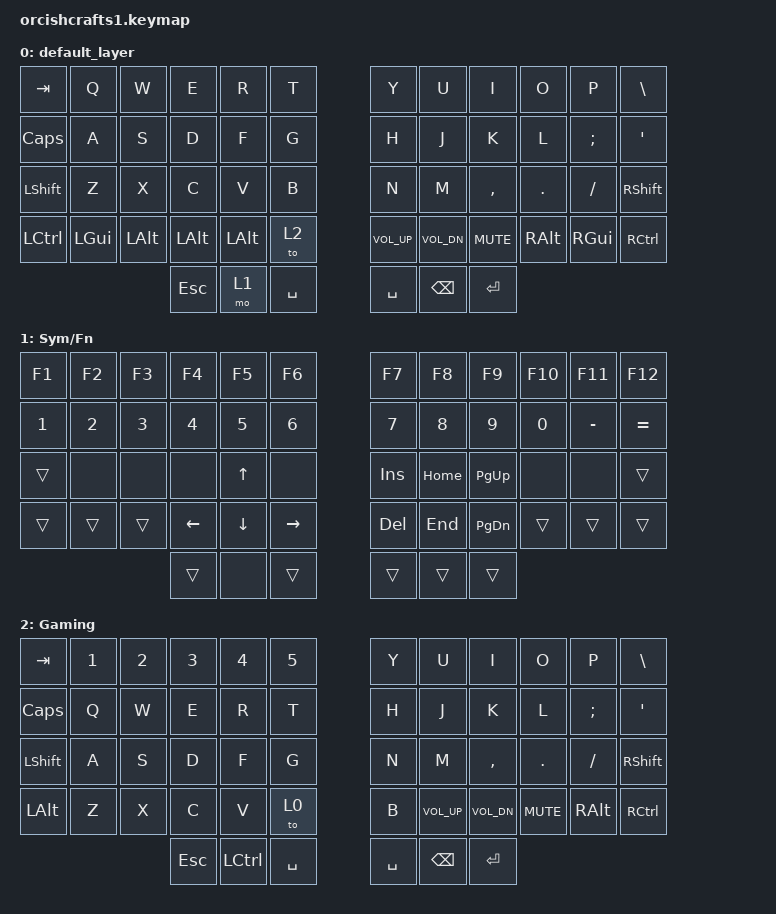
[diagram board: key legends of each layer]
#include <behaviors.dtsi>
#include <dt-bindings/zmk/keys.h>

/ {
    keymap {
        compatible = "zmk,keymap";

        /* === LAYER 0: Alpha Grid (No Number Row) === */
        default_layer {
            bindings = <
                /* === ROW 1: TOP ROW (12 Keys) === */
                &kp TAB   &kp Q     &kp W     &kp E     &kp R     &kp T         &kp Y     &kp U     &kp I     &kp O     &kp P     &kp BSLH
                /* === ROW 2: HOME ROW ROW (12 Keys) === */
                &kp CAPS  &kp A     &kp S     &kp D     &kp F     &kp G         &kp H     &kp J     &kp K     &kp L     &kp SEMI  &kp SQT
                /* === ROW 3: BOTTOM ROW (12 Keys) === */
                &kp LSHFT &kp Z     &kp X     &kp C     &kp V     &kp B         &kp N     &kp M     &kp COMMA &kp DOT   &kp FSLH  &kp RSHFT
                /* === ROW 4: BOTTOM MODIFIERS ROW (12 Keys) === */
                &kp LCTRL &kp LGUI  &kp LALT  &kp LALT  &kp LALT  &to 2          &kp C_VOL_UP &kp C_VOL_DN &kp C_MUTE &kp RALT  &kp RGUI  &kp RCTRL
                /* === ROW 5: THUMB CLUSTERS (6 Keys Total — 3 Left Thumbs | 3 Right Thumbs) === */
                                              &kp ESC   &mo 1     &kp SPACE     &kp SPACE &kp BSPC  &kp RET
            >;
        };

        /* === LAYER 1: Fn Track on Row 1, Numbers on Row 2 === */
        lower_layer {
            display-name = "Sym/Fn";
            bindings = <
                /* === ROW 1: FUNCTION TRACK (12 Keys) === */
                &kp F1    &kp F2    &kp F3    &kp F4    &kp F5    &kp F6        &kp F7    &kp F8    &kp F9    &kp F10   &kp F11   &kp F12
                /* === ROW 2: NUMBER TRACK (12 Keys) === */
                &kp N1    &kp N2    &kp N3    &kp N4    &kp N5    &kp N6        &kp N7    &kp N8    &kp N9    &kp N0    &kp MINUS &kp EQUAL
                /* === ROW 3: EXTRA NAVIGATORS ROW (12 Keys — FIXED PREFIXES) === */
                &trans    &none     &none     &none     &kp UP    &none         &kp INS   &kp HOME  &kp PG_UP &none     &none     &trans
                /* === ROW 4: ARROW NAVIGATION ROW (12 Keys — RE-ALIGNED NAVIGATION CLUSTER) === */
                &trans    &trans    &trans    &kp LEFT  &kp DOWN  &kp RIGHT     &kp DEL   &kp END   &kp PG_DN &trans    &trans    &trans
                /* === ROW 5: THUMB CLUSTER (6 Keys — FIXED DOUBLE AMPERSAND) === */
                                              &trans    &none     &trans        &trans    &trans    &trans
            >;
        };

        /* === LAYER 2: Games === */
        extra1 {
            display-name = "Gaming";
            bindings = <
                &kp TAB   &kp N1    &kp N2    &kp N3    &kp N4    &kp N5        &kp Y     &kp U     &kp I     &kp O     &kp P     &kp BSLH
                &kp CAPS  &kp Q     &kp W     &kp E     &kp R     &kp T         &kp H     &kp J     &kp K     &kp L     &kp SEMI  &kp SQT
                &kp LSHFT &kp A     &kp S     &kp D     &kp F     &kp G         &kp N     &kp M     &kp COMMA &kp DOT   &kp FSLH  &kp RSHFT
                &kp LALT  &kp Z     &kp X     &kp C     &kp V     &to 0         &kp B &kp C_VOL_UP &kp C_VOL_DN &kp C_MUTE &kp RALT &kp RCTRL
                                              &kp ESC   &kp LCTRL &kp SPACE     &kp SPACE &kp BSPC  &kp RET
            >;
        };

        extra2 { status = "reserved"; };
        extra3 { status = "reserved"; }; 
        extra4 { status = "reserved"; };
        extra5 { status = "reserved"; };
        extra6 { status = "reserved"; };
        extra7 { status = "reserved"; };        
        extra8 { status = "reserved"; };        
        extra9 { status = "reserved"; };
    };
};

